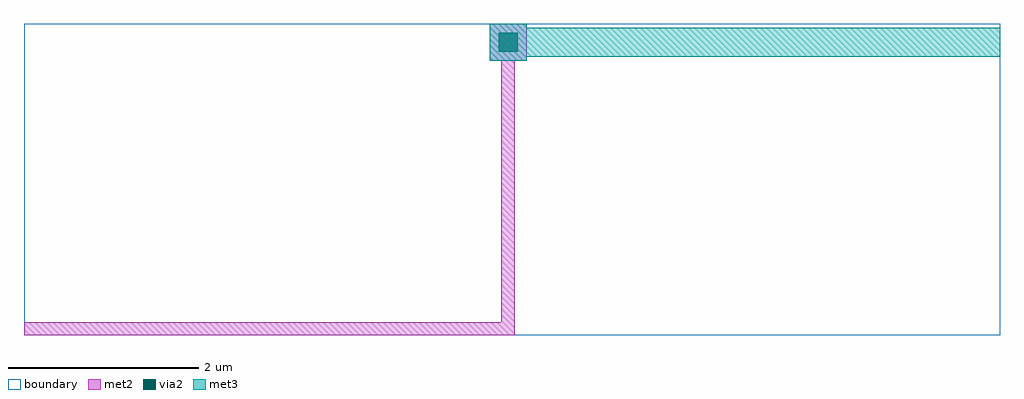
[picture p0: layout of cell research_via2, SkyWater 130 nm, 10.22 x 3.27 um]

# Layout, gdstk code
import gdstk
lib = gdstk.Library(unit=1e-6, precision=1e-09)
def R(c, l, rs):  # rectangles x0, y0, x1, y1
    for r in rs: c.add(gdstk.rectangle(r[:2], r[2:], *l))
met2 = (69, 20)
via2 = (69, 44)
met3 = (70, 20)
boundary = (235, 4)

research_via2 = lib.new_cell('research_via2')
R(research_via2, met2, [(0,0,5.14,0.14), (5,0,5.14,3.14), (4.875,2.875,5.265,3.265)])
R(research_via2, via2, [(4.97,2.97,5.17,3.17)])
R(research_via2, met3, [(4.875,2.875,5.265,3.265), (4.92,2.92,10.22,3.22)])
R(research_via2, boundary, [(0,0,10.22,3.265)])

lib.write_gds('research_via2.gds')
